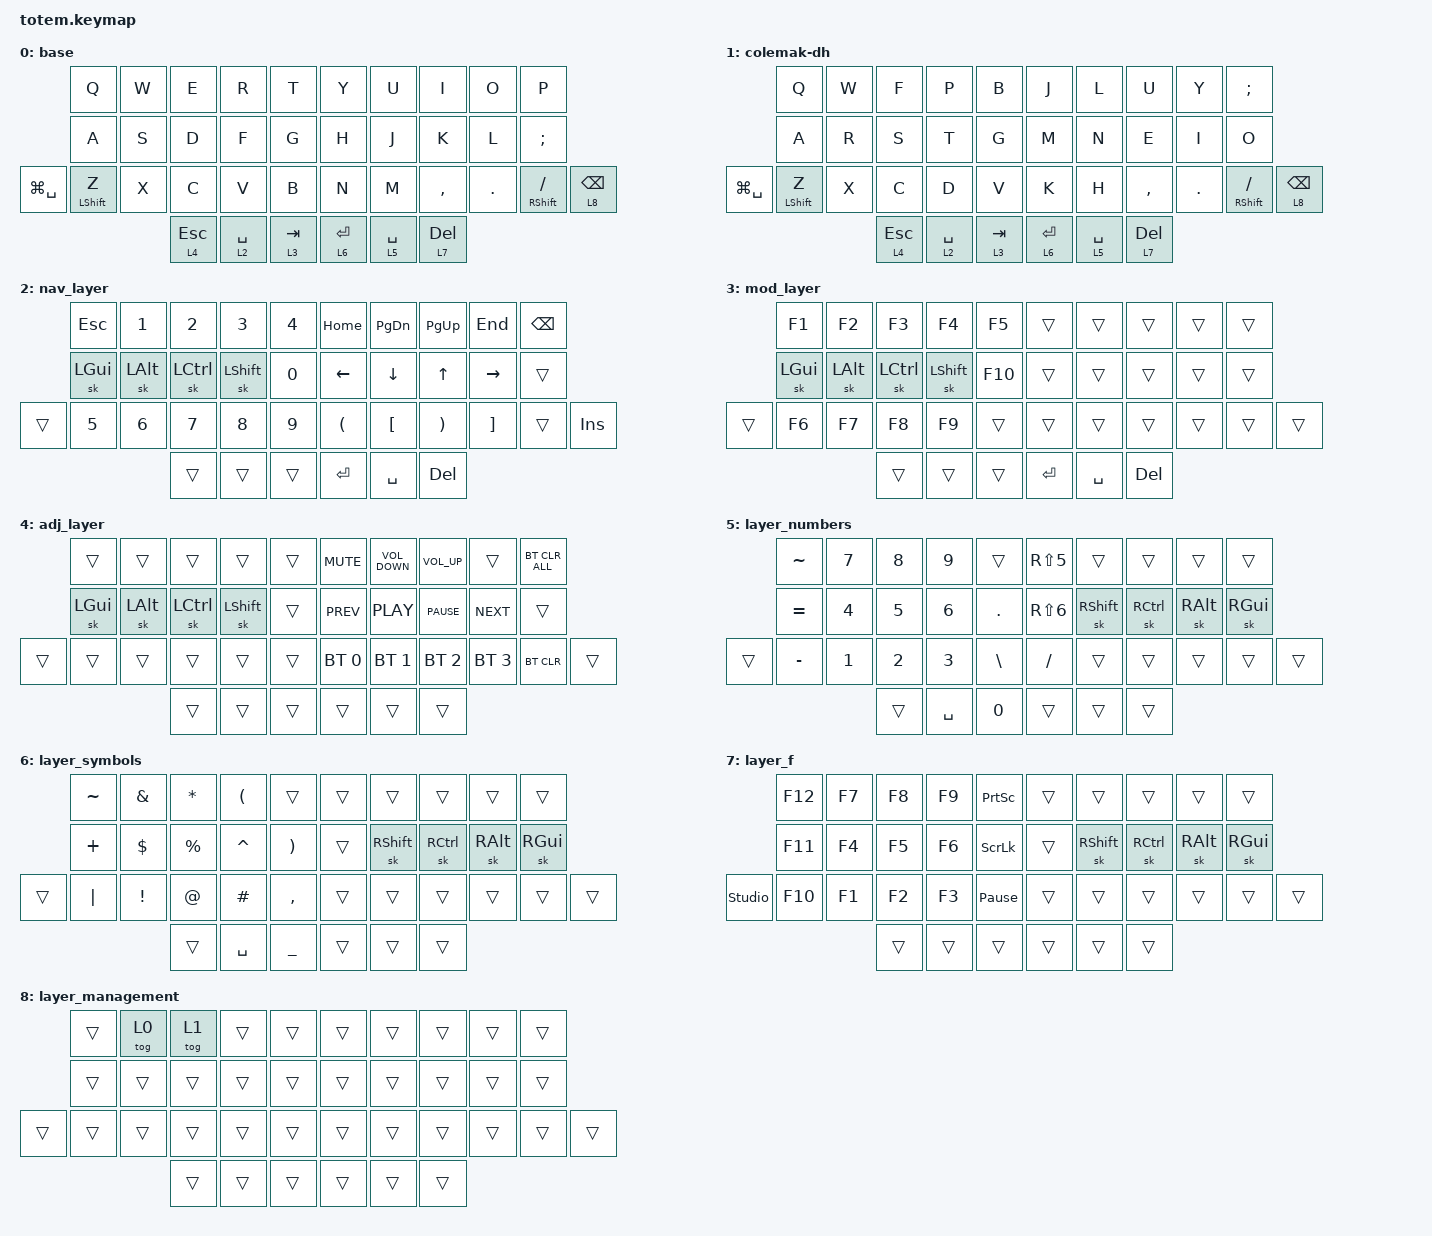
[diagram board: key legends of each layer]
#include <dt-bindings/zmk/mouse.h>
#include <behaviors.dtsi>
#include <dt-bindings/zmk/bt.h>
#include <dt-bindings/zmk/keys.h>

#define BASE 0
#define CODE 1
#define NAV  2
#define MOD  3
#define ADJ  4

/ {
    behaviors {
        hml: homerow_mods_left {
            compatible = "zmk,behavior-hold-tap";
            #binding-cells = <2>;
            tapping-term-ms = <110>;
            quick-tap-ms = <100>;
            require-prior-idle-ms = <140>;
            flavor = "tap-preferred";
            bindings = <&kp>, <&kp>;
        };

        hmr: homerow_mods_right {
            compatible = "zmk,behavior-hold-tap";
            #binding-cells = <2>;
            tapping-term-ms = <110>;
            quick-tap-ms = <100>;
            require-prior-idle-ms = <140>;
            flavor = "tap-preferred";
            bindings = <&kp>, <&kp>;
        };

        td_bs_pipe: backslash_pipe {
            compatible = "zmk,behavior-hold-tap";
            #binding-cells = <2>;
            tapping-term-ms = <200>;
            flavor = "tap-preferred";
            bindings = <&kp>, <&kp>;
        };

        sticky_tap_kp_hold: sticky_tap_kp_hold {
            compatible = "zmk,behavior-hold-tap";
            label = "STICKY_TAP_KP_HOLD";
            bindings = <&kp>, <&sk>;

            #binding-cells = <2>;
            tapping-term-ms = <180>;
        };

        sticky_tap_layer_hold: sticky_tap_layer_hold {
            compatible = "zmk,behavior-hold-tap";
            label = "STICKY_TAP_LAYER_HOLD";
            bindings = <&mo>, <&sk>;

            #binding-cells = <2>;
            tapping-term-ms = <120>;
        };
    };

    combos {
        compatible = "zmk,combos";

        combo_esc {
            timeout-ms = <50>;
            key-positions = <0 1>;
            bindings = <&kp ESC>;
            layers = <0 1>;
        };

        apostrophe {
            timeout-ms = <50>;
            key-positions = <28 29>;
            bindings = <&kp APOS>;
            layers = <0 1>;
        };

        minus {
            bindings = <&kp MINUS>;
            key-positions = <27 28>;
            timeout-ms = <50>;
            layers = <0 1>;
        };

        caps {
            bindings = <&kp CAPSLOCK>;
            key-positions = <22 23>;
            timeout-ms = <50>;
            layers = <0 1>;
        };

        /* caps { */
        /*     bindings = <&kp CAPS>; */
        /*     key-positions = <23 24>; */
        /* }; */

        left-bracket {
            bindings = <&kp LEFT_BRACKET>;
            key-positions = <6 7>;
            timeout-ms = <50>;
            layers = <0 1>;
        };

        right-bracket {
            bindings = <&kp RIGHT_BRACKET>;
            key-positions = <7 8>;
            timeout-ms = <50>;
            layers = <0 1>;
        };
    };

    macros {
        mac_lock: mac_lock_screen {
            compatible = "zmk,behavior-macro";
            #binding-cells = <0>;
            bindings =
                <&macro_press>,
                <&kp LGUI &kp LCTRL>,
                <&macro_pause_for_release>,
                <&macro_tap>,
                <&kp Q>,
                <&macro_release>,
                <&kp LGUI &kp LCTRL>;
        };

        win_lock: win_lock_screen {
            compatible = "zmk,behavior-macro";
            #binding-cells = <0>;
            bindings =
                <&macro_press>,
                <&kp LGUI>,
                <&macro_tap>,
                <&kp L>,
                <&macro_release>,
                <&kp LGUI>;
        };
    };

    keymap {
        compatible = "zmk,keymap";

        base {
            bindings = <
               &kp Q             &kp W  &kp E      &kp R        &kp T        &kp Y        &kp U        &kp I      &kp O    &kp P
               &kp A             &kp S  &kp D      &kp F        &kp G        &kp H        &kp J        &kp K      &kp L    &kp SEMI
&kp LG(SPACE)  &mt LEFT_SHIFT Z  &kp X  &kp C      &kp V        &kp B        &kp N        &kp M        &kp COMMA  &kp DOT  &mt RIGHT_SHIFT FSLH  &lt 8 BACKSPACE
                                        &lt 4 ESC  &lt 2 SPACE  &lt 3 TAB    &lt 6 ENTER  &lt 5 SPACE  &lt 7 DEL
            >;
        };

        colemak-dh {
            bindings = <
               &kp Q             &kp W  &kp F      &kp P        &kp B        &kp J        &kp L        &kp U      &kp Y       &kp SEMI
               &kp A             &kp R  &kp S      &kp T        &kp G        &kp M        &kp N        &kp E      &kp I       &kp O
&kp LG(SPACE)  &mt LEFT_SHIFT Z  &kp X  &kp C      &kp D        &kp V        &kp K        &kp H        &kp COMMA  &kp PERIOD  &mt RIGHT_SHIFT SLASH  &lt 8 BACKSPACE
                                        &lt 4 ESC  &lt 2 SPACE  &lt 3 TAB    &lt 6 ENTER  &lt 5 SPACE  &lt 7 DEL
            >;
        };

        nav_layer {
            bindings = <
        &kp ESC       &kp NUMBER_1  &kp NUMBER_2      &kp NUMBER_3    &kp NUMBER_4    &kp HOME        &kp PAGE_DOWN     &kp PAGE_UP            &kp END            &kp BACKSPACE
        &sk LEFT_GUI  &sk LEFT_ALT  &sk LEFT_CONTROL  &sk LEFT_SHIFT  &kp NUMBER_0    &kp LEFT_ARROW  &kp DOWN_ARROW    &kp UP_ARROW           &kp RIGHT          &trans
&trans  &kp NUMBER_5  &kp NUMBER_6  &kp NUMBER_7      &kp NUMBER_8    &kp NUMBER_9    &kp LPAR        &kp LEFT_BRACKET  &kp RIGHT_PARENTHESIS  &kp RIGHT_BRACKET  &trans         &kp INS
                                    &trans            &trans          &trans          &kp ENTER       &kp SPACE         &kp DELETE
            >;
        };

        mod_layer {
            bindings = <
        &kp F1        &kp F2        &kp F3            &kp F4          &kp F5     &trans     &trans     &trans      &trans  &trans
        &sk LEFT_GUI  &sk LEFT_ALT  &sk LEFT_CONTROL  &sk LEFT_SHIFT  &kp F10    &trans     &trans     &trans      &trans  &trans
&trans  &kp F6        &kp F7        &kp F8            &kp F9          &trans     &trans     &trans     &trans      &trans  &trans  &trans
                                    &trans            &trans          &trans     &kp ENTER  &kp SPACE  &kp DELETE
            >;
        };

        adj_layer {
            bindings = <
        &trans        &trans        &trans            &trans          &trans    &kp C_MUTE    &kp C_VOLUME_DOWN  &kp C_VOLUME_UP  &trans        &bt BT_CLR_ALL
        &sk LEFT_GUI  &sk LEFT_ALT  &sk LEFT_CONTROL  &sk LEFT_SHIFT  &trans    &kp C_PREV    &kp C_PLAY         &kp C_PAUSE      &kp C_NEXT    &trans
&trans  &trans        &trans        &trans            &trans          &trans    &bt BT_SEL 0  &bt BT_SEL 1       &bt BT_SEL 2     &bt BT_SEL 3  &bt BT_CLR      &trans
                                    &trans            &trans          &trans    &trans        &trans             &trans
            >;
        };

        layer_numbers {
            bindings = <
        &kp TILDE  &kp NUMBER_7  &kp NUMBER_8  &kp NUMBER_9  &trans           &kp RS(NUMBER_5)  &trans           &trans             &trans         &trans
        &kp EQUAL  &kp NUMBER_4  &kp NUMBER_5  &kp NUMBER_6  &kp DOT          &kp RS(NUMBER_6)  &sk RIGHT_SHIFT  &sk RIGHT_CONTROL  &sk RIGHT_ALT  &sk RIGHT_GUI
&trans  &kp MINUS  &kp NUMBER_1  &kp NUMBER_2  &kp NUMBER_3  &kp BACKSLASH    &kp SLASH         &trans           &trans             &trans         &trans         &trans
                                 &trans        &kp SPACE     &kp NUMBER_0     &trans            &trans           &trans
            >;
        };

        layer_symbols {
            bindings = <
        &kp TILDE  &kp AMPERSAND    &kp ASTERISK  &kp LEFT_PARENTHESIS  &trans                   &trans  &trans           &trans             &trans         &trans
        &kp PLUS   &kp DOLLAR       &kp PERCENT   &kp CARET             &kp RIGHT_PARENTHESIS    &trans  &sk RIGHT_SHIFT  &sk RIGHT_CONTROL  &sk RIGHT_ALT  &sk RIGHT_GUI
&trans  &kp PIPE   &kp EXCLAMATION  &kp AT_SIGN   &kp HASH              &kp COMMA                &trans  &trans           &trans             &trans         &trans         &trans
                                    &trans        &kp SPACE             &kp UNDER                &trans  &trans           &trans
            >;
        };

        layer_f {
            bindings = <
                &kp F12  &kp F7  &kp F8  &kp F9  &kp PRINTSCREEN    &trans  &trans           &trans             &trans         &trans
                &kp F11  &kp F4  &kp F5  &kp F6  &kp SCROLLLOCK     &trans  &sk RIGHT_SHIFT  &sk RIGHT_CONTROL  &sk RIGHT_ALT  &sk RIGHT_GUI
&studio_unlock  &kp F10  &kp F1  &kp F2  &kp F3  &kp PAUSE_BREAK    &trans  &trans           &trans             &trans         &trans         &trans
                                 &trans  &trans  &trans             &trans  &trans           &trans
            >;
        };

        layer_management {
            bindings = <
        &trans  &tog 0  &tog 1  &trans  &trans    &trans  &trans  &trans  &trans  &trans
        &trans  &trans  &trans  &trans  &trans    &trans  &trans  &trans  &trans  &trans
&trans  &trans  &trans  &trans  &trans  &trans    &trans  &trans  &trans  &trans  &trans  &trans
                        &trans  &trans  &trans    &trans  &trans  &trans
            >;
        };
    };
};

&lt {
    tapping-term-ms = <120>;
    flavor = "hold-preferred";
};

&sk {
    release-after-ms = <2000>;
    quick-release;
};

